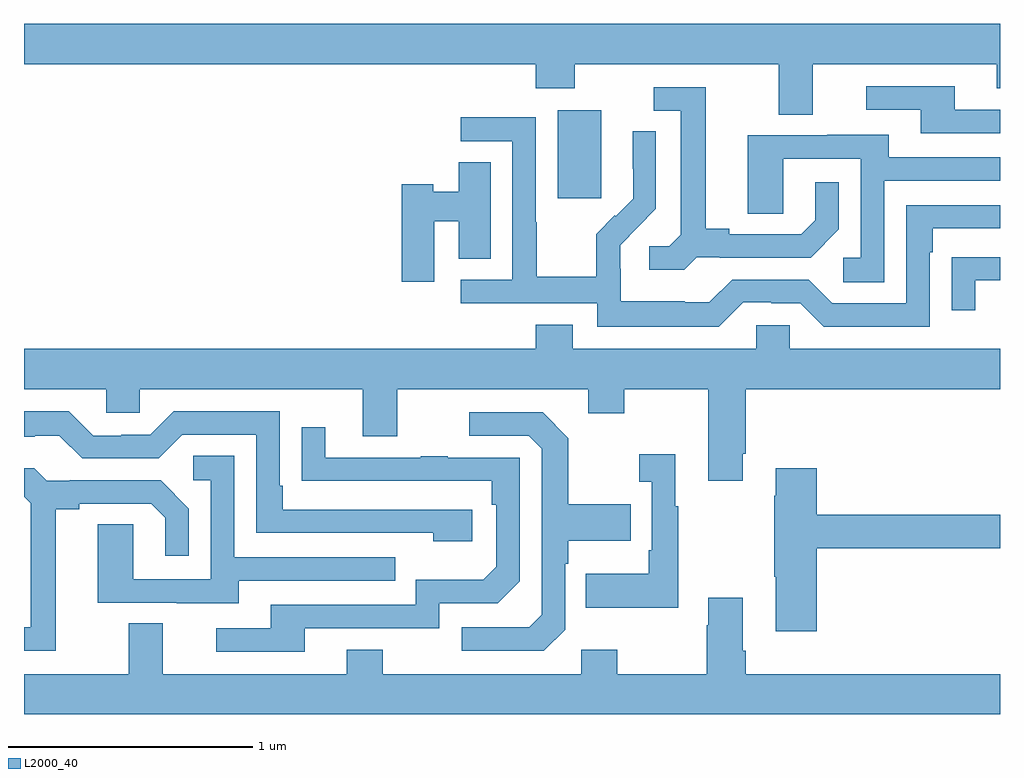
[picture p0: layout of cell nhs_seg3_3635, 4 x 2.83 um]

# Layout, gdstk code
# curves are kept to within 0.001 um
import gdstk
lib = gdstk.Library(unit=1e-6, precision=1e-09)
def R(c, l, rs):  # rectangles x0, y0, x1, y1
    for r in rs: c.add(gdstk.rectangle(r[:2], r[2:], *l))
def P(c, l, *ps):  # polygons
    for p in ps: c.add(gdstk.Polygon(p, *l))
L2000_40 = (2000, 40)

nhs_seg3_3635 = lib.new_cell('nhs_seg3_3635')
R(nhs_seg3_3635, L2000_40, [(301.187,723.009,301.366,723.37)])
P(nhs_seg3_3635, L2000_40, [(302.233,723.56),(302.987,723.56),(302.987,723.461),(303,723.461),(303,723.724),(299,723.724),(299,723.56),(301.097,723.56),(301.097,723.461),(301.257,723.461),(301.257,723.56),(302.093,723.56),(302.093,723.352),(302.233,723.352)],
  [(303,723.372),(302.815,723.372),(302.815,723.468),(302.451,723.468),(302.451,723.372),(302.675,723.372),(302.675,723.276),(303,723.276)],
  [(301.758,722.769),(301.852,722.769),(301.852,722.766),(302.224,722.766),(302.34,722.882),(302.34,723.076),(302.243,723.076),(302.243,722.919),(302.186,722.862),(301.891,722.862),(301.891,722.885),(301.795,722.885),(301.795,723.465),(301.581,723.465),(301.581,723.369),(301.691,723.369),(301.691,722.861),(301.644,722.814),(301.563,722.814),(301.563,722.717),(301.706,722.717)],
  [(301.947,722.583),(302.063,722.583),(302.063,722.58),(302.181,722.58),(302.277,722.484),(302.712,722.484),(302.712,722.789),(302.725,722.789),(302.725,722.886),(303,722.886),(303,722.982),(302.616,722.982),(302.616,722.58),(302.313,722.58),(302.217,722.676),(301.902,722.676),(301.809,722.583),(301.709,722.583),(301.709,722.587),(301.446,722.587),(301.446,722.721),(301.444,722.721),(301.444,722.818),(301.59,722.966),(301.59,723.284),(301.494,723.284),(301.494,723.13),(301.496,723.13),(301.496,723.008),(301.425,722.937),(301.422,722.94),(301.345,722.863),(301.345,722.689),(301.101,722.689),(301.101,722.912),(301.098,722.912),(301.098,723.342),(300.789,723.342),(300.789,723.243),(301.002,723.243),(301.002,722.676),(300.789,722.676),(300.789,722.58),(301.35,722.58),(301.35,722.483),(301.847,722.483)],
  [(302.526,723.081),(303,723.081),(303,723.177),(302.545,723.177),(302.545,723.271),(302.291,723.271),(302.291,723.267),(301.967,723.267),(301.967,722.947),(302.112,722.947),(302.112,723.171),(302.43,723.171),(302.43,722.766),(302.358,722.766),(302.358,722.665),(302.526,722.665)],
  [(300.682,722.915),(300.782,722.915),(300.782,722.761),(300.913,722.761),(300.913,723.158),(300.782,723.158),(300.782,723.037),(300.678,723.037),(300.678,723.068),(300.548,723.068),(300.548,722.667),(300.682,722.667)],
  [(302.899,722.673),(303,722.673),(303,722.769),(302.905,722.769),(302.905,722.768),(302.803,722.768),(302.803,722.55),(302.899,722.55)],
  [(301.945,721.963),(301.958,721.963),(301.958,722.228),(303,722.228),(303,722.392),(302.139,722.392),(302.139,722.49),(302.001,722.49),(302.001,722.392),(301.249,722.392),(301.249,722.491),(301.097,722.491),(301.097,722.392),(299,722.392),(299,722.228),(299.337,722.228),(299.337,722.13),(299.475,722.13),(299.475,722.228),(300.389,722.228),(300.389,722.034),(300.529,722.034),(300.529,722.228),(301.313,722.228),(301.313,722.129),(301.461,722.129),(301.461,722.228),(301.805,722.228),(301.805,721.851),(301.945,721.851)],
  [(300.838,721.734),(300.061,721.734),(300.061,721.831),(300.048,721.831),(300.048,722.136),(299.613,722.136),(299.517,722.04),(299.399,722.04),(299.399,722.037),(299.283,722.037),(299.183,722.137),(299,722.137),(299,722.033),(299.045,722.033),(299.045,722.037),(299.145,722.037),(299.238,721.944),(299.553,721.944),(299.649,722.04),(299.952,722.04),(299.952,721.638),(300.677,721.638),(300.677,721.604),(300.838,721.604)],
  [(301.218,721.242),(301.218,721.511),(301.231,721.511),(301.231,721.607),(301.487,721.607),(301.487,721.755),(301.231,721.755),(301.231,722.027),(301.125,722.133),(300.825,722.133),(300.825,722.037),(301.068,722.037),(301.122,721.983),(301.122,721.302),(301.071,721.251),(300.795,721.251),(300.795,721.155),(301.131,721.155)],
  [(300.151,721.248),(300.702,721.248),(300.702,721.35),(300.942,721.35),(301.032,721.44),(301.032,721.947),(300.737,721.947),(300.737,721.952),(300.625,721.952),(300.625,721.947),(300.235,721.947),(300.235,722.071),(300.139,722.071),(300.139,721.852),(300.916,721.851),(300.916,721.754),(300.936,721.754),(300.936,721.5),(300.883,721.447),(300.606,721.447),(300.606,721.344),(300.011,721.344),(300.011,721.248),(299.787,721.248),(299.787,721.152),(300.151,721.152)],
  [(301.681,721.747),(301.669,721.747),(301.669,721.96),(301.521,721.96),(301.521,721.847),(301.572,721.847),(301.572,721.567),(301.56,721.567),(301.56,721.471),(301.303,721.471),(301.303,721.331),(301.681,721.331)],
  [(299.881,721.443),(300.521,721.443),(300.521,721.539),(299.862,721.539),(299.862,721.955),(299.694,721.955),(299.694,721.854),(299.766,721.854),(299.766,721.449),(299.448,721.449),(299.448,721.673),(299.303,721.673),(299.303,721.353),(299.627,721.353),(299.627,721.349),(299.881,721.349)],
  [(299.131,721.736),(299.227,721.736),(299.227,721.758),(299.522,721.758),(299.579,721.701),(299.579,721.545),(299.676,721.545),(299.676,721.738),(299.56,721.854),(299.188,721.854),(299.188,721.851),(299.094,721.851),(299.042,721.903),(299,721.903),(299,721.786),(299.027,721.759),(299.027,721.251),(299,721.251),(299,721.155),(299.131,721.155)],
  [(302.249,721.576),(303,721.576),(303,721.712),(302.249,721.712),(302.249,721.903),(302.081,721.903),(302.081,721.79),(302.074,721.79),(302.074,721.459),(302.081,721.459),(302.081,721.236),(302.249,721.236)],
  [(303,721.06),(301.958,721.06),(301.958,721.156),(301.945,721.156),(301.945,721.372),(301.805,721.372),(301.805,721.259),(301.798,721.259),(301.798,721.06),(301.431,721.06),(301.431,721.159),(301.284,721.159),(301.284,721.06),(300.471,721.06),(300.471,721.159),(300.323,721.159),(300.323,721.06),(299.569,721.06),(299.569,721.268),(299.429,721.268),(299.429,721.06),(299,721.06),(299,720.896),(303,720.896)])

lib.write_gds('nhs_seg3_3635.gds')
